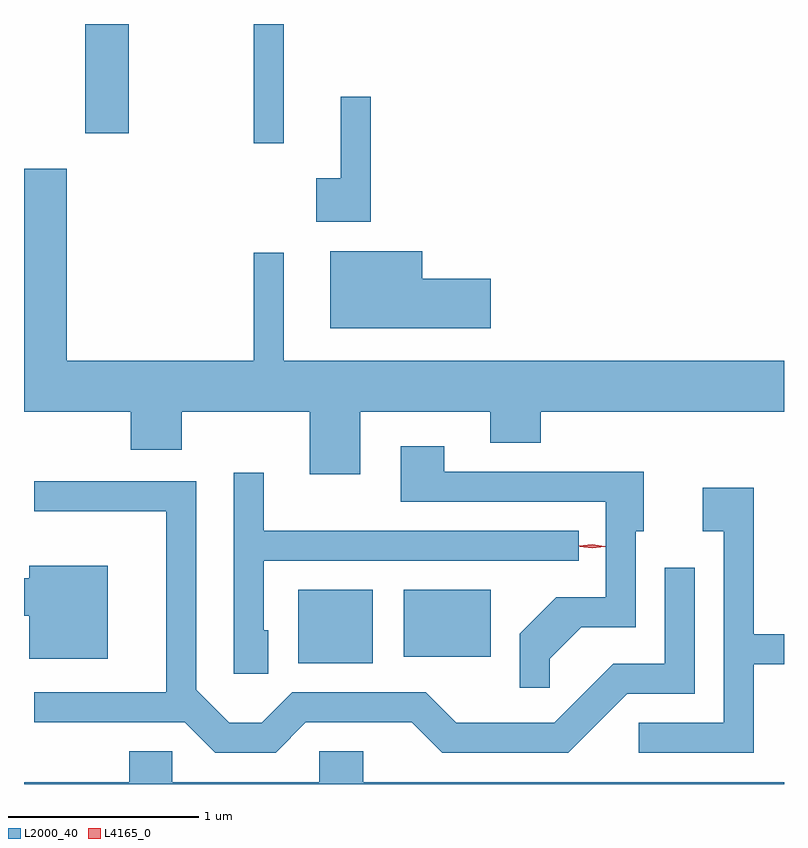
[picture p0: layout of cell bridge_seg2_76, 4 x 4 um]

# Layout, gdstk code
import gdstk
lib = gdstk.Library(unit=1e-6, precision=1e-09)
def R(c, l, rs):  # rectangles x0, y0, x1, y1
    for r in rs: c.add(gdstk.rectangle(r[:2], r[2:], *l))
def P(c, l, *ps):  # polygons
    for p in ps: c.add(gdstk.Polygon(p, *l))
L2000_40 = (2000, 40)
L4165_0 = (4165, 0)

bridge_seg2_76 = lib.new_cell('bridge_seg2_76')
R(bridge_seg2_76, L2000_40, [(1216.811,1066.971,1217.204,1067.359), (1217.366,1067.006,1217.824,1067.359), (1216.576,1069.708,1216.734,1070.336), (1215.691,1069.761,1215.919,1070.336)])
P(bridge_seg2_76, L2000_40, [(1217.194,1069.953),(1217.036,1069.953),(1217.036,1069.524),(1216.906,1069.524),(1216.906,1069.296),(1217.194,1069.296)],
  [(1217.139,1068.296),(1217.821,1068.296),(1217.821,1068.131),(1218.089,1068.131),(1218.089,1068.296),(1219.368,1068.296),(1219.368,1068.564),(1216.734,1068.564),(1216.734,1069.133),(1216.576,1069.133),(1216.576,1068.564),(1215.594,1068.564),(1215.594,1069.574),(1215.368,1069.574),(1215.368,1068.296),(1215.931,1068.296),(1215.931,1068.096),(1216.199,1068.096),(1216.199,1068.296),(1216.871,1068.296),(1216.871,1067.966),(1217.139,1067.966)],
  [(1217.824,1068.994),(1217.464,1068.994),(1217.464,1069.139),(1216.981,1069.139),(1216.981,1068.736),(1217.824,1068.736)],
  [(1218.134,1066.994),(1218.302,1067.161),(1218.589,1067.161),(1218.589,1067.666),(1218.629,1067.666),(1218.629,1067.979),(1217.579,1067.979),(1217.579,1068.114),(1217.351,1068.114),(1217.351,1067.821),(1218.431,1067.821),(1218.431,1067.319),(1218.169,1067.319),(1217.976,1067.127),(1217.976,1066.843),(1218.134,1066.843)],
  [(1216.654,1067.144),(1216.629,1067.144),(1216.629,1067.511),(1218.288,1067.511),(1218.288,1067.669),(1216.629,1067.669),(1216.629,1067.973),(1216.471,1067.973),(1216.471,1066.916),(1216.654,1066.916)],
  [(1216.852,1066.661),(1217.409,1066.661),(1217.569,1066.501),(1218.232,1066.501),(1218.542,1066.811),(1218.899,1066.811),(1218.899,1067.473),(1218.741,1067.473),(1218.741,1066.969),(1218.469,1066.969),(1218.159,1066.659),(1217.642,1066.659),(1217.482,1066.819),(1216.779,1066.819),(1216.619,1066.659),(1216.447,1066.659),(1216.274,1066.832),(1216.274,1067.929),(1215.423,1067.929),(1215.423,1067.771),(1216.116,1067.771),(1216.116,1066.819),(1215.423,1066.819),(1215.423,1066.661),(1216.214,1066.661),(1216.374,1066.501),(1216.692,1066.501)],
  [(1219.209,1066.966),(1219.368,1066.966),(1219.368,1067.124),(1219.209,1067.124),(1219.209,1067.894),(1218.941,1067.894),(1218.941,1067.666),(1219.051,1067.666),(1219.051,1066.659),(1218.603,1066.659),(1218.603,1066.501),(1219.209,1066.501)],
  [(1215.809,1067.484),(1215.396,1067.484),(1215.396,1067.419),(1215.368,1067.419),(1215.368,1067.221),(1215.396,1067.221),(1215.396,1066.996),(1215.809,1066.996)],
  [(1219.368,1066.344),(1217.154,1066.344),(1217.154,1066.509),(1216.921,1066.509),(1216.921,1066.344),(1216.149,1066.344),(1216.149,1066.509),(1215.921,1066.509),(1215.921,1066.344),(1215.368,1066.344),(1215.368,1066.336),(1219.368,1066.336)])
P(bridge_seg2_76, L4165_0, [(1218.359,1067.576),(1218.292,1067.586),(1218.292,1067.586),(1218.292,1067.587),(1218.359,1067.596),(1218.425,1067.587),(1218.426,1067.586),(1218.425,1067.586)],
  [(1218.358,1067.579),(1218.289,1067.59),(1218.289,1067.59),(1218.289,1067.59),(1218.358,1067.599),(1218.427,1067.588),(1218.428,1067.588),(1218.427,1067.587)])

lib.write_gds('bridge_seg2_76.gds')
